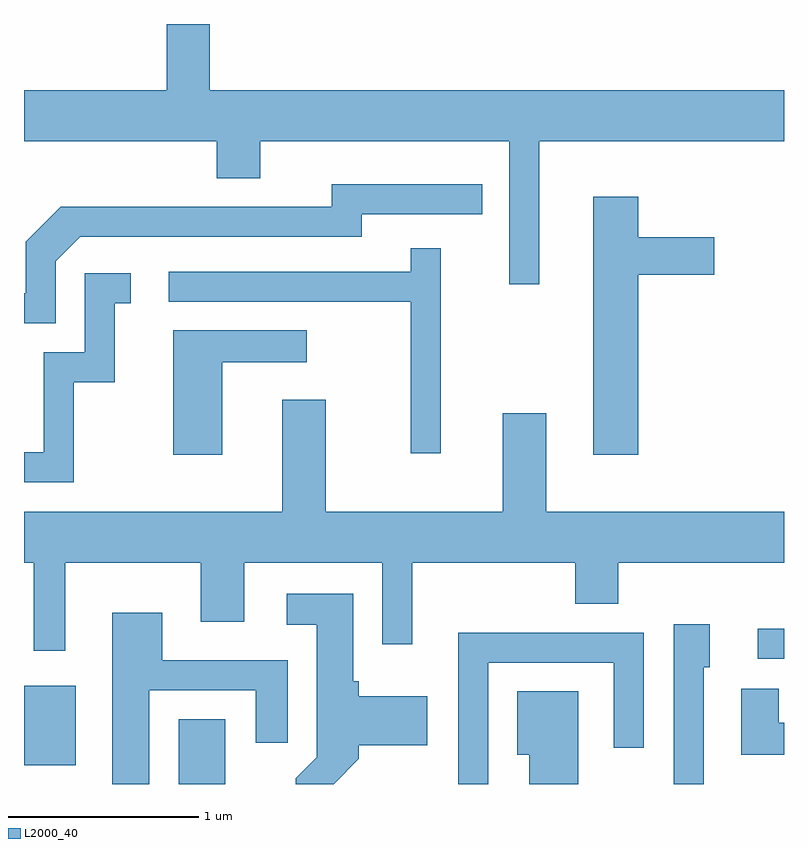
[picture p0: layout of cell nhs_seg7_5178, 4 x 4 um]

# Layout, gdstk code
import gdstk
lib = gdstk.Library(unit=1e-6, precision=1e-09)
def R(c, l, rs):  # rectangles x0, y0, x1, y1
    for r in rs: c.add(gdstk.rectangle(r[:2], r[2:], *l))
def P(c, l, *ps):  # polygons
    for p in ps: c.add(gdstk.Polygon(p, *l))
L2000_40 = (2000, 40)

nhs_seg7_5178 = lib.new_cell('nhs_seg7_5178')
R(nhs_seg7_5178, L2000_40, [(344.426,1724.252,344.669,1724.594), (343.611,1724.351,343.884,1724.769), (347.473,1724.911,347.611,1725.069)])
P(nhs_seg7_5178, L2000_40, [(346.324,1727.636),(347.611,1727.636),(347.611,1727.904),(344.589,1727.904),(344.589,1728.252),(344.361,1728.252),(344.361,1727.904),(343.611,1727.904),(343.611,1727.636),(344.626,1727.636),(344.626,1727.441),(344.854,1727.441),(344.854,1727.636),(346.166,1727.636),(346.166,1726.883),(346.324,1726.883)],
  [(343.779,1727.004),(343.907,1727.131),(345.389,1727.131),(345.389,1727.251),(346.023,1727.251),(346.023,1727.409),(345.231,1727.409),(345.231,1727.289),(343.804,1727.289),(343.621,1727.107),(343.621,1726.834),(343.611,1726.834),(343.611,1726.676),(343.779,1726.676)],
  [(346.844,1726.931),(347.244,1726.931),(347.244,1727.129),(346.844,1727.129),(346.844,1727.344),(346.606,1727.344),(346.606,1725.986),(346.844,1725.986)],
  [(345.804,1727.073),(345.646,1727.073),(345.646,1726.949),(344.373,1726.949),(344.373,1726.791),(345.646,1726.791),(345.646,1725.993),(345.804,1725.993)],
  [(343.874,1726.366),(344.089,1726.366),(344.089,1726.781),(344.173,1726.781),(344.173,1726.939),(343.931,1726.939),(343.931,1726.524),(343.716,1726.524),(343.716,1725.999),(343.611,1725.999),(343.611,1725.841),(343.874,1725.841)],
  [(344.654,1726.471),(345.098,1726.471),(345.098,1726.639),(344.396,1726.639),(344.396,1725.986),(344.654,1725.986)],
  [(343.829,1725.416),(344.541,1725.416),(344.541,1725.106),(344.769,1725.106),(344.769,1725.416),(345.496,1725.416),(345.496,1724.988),(345.654,1724.988),(345.654,1725.416),(346.511,1725.416),(346.511,1725.201),(346.739,1725.201),(346.739,1725.416),(347.611,1725.416),(347.611,1725.684),(346.359,1725.684),(346.359,1726.204),(346.131,1726.204),(346.131,1725.684),(345.199,1725.684),(345.199,1726.274),(344.971,1726.274),(344.971,1725.684),(343.611,1725.684),(343.611,1725.416),(343.661,1725.416),(343.661,1724.953),(343.829,1724.953)],
  [(345.374,1724.384),(345.374,1724.456),(345.734,1724.456),(345.734,1724.714),(345.374,1724.714),(345.374,1724.794),(345.344,1724.794),(345.344,1725.254),(344.993,1725.254),(344.993,1725.091),(345.151,1725.091),(345.151,1724.392),(345.041,1724.282),(345.041,1724.252),(345.242,1724.252)],
  [(344.269,1724.746),(344.831,1724.746),(344.831,1724.468),(344.999,1724.468),(344.999,1724.904),(344.339,1724.904),(344.339,1725.154),(344.076,1725.154),(344.076,1724.252),(344.269,1724.252)],
  [(347.189,1724.866),(347.219,1724.866),(347.219,1725.094),(347.031,1725.094),(347.031,1724.252),(347.189,1724.252)],
  [(346.054,1724.891),(346.716,1724.891),(346.716,1724.443),(346.874,1724.443),(346.874,1725.049),(345.896,1725.049),(345.896,1724.252),(346.054,1724.252)],
  [(347.611,1724.574),(347.584,1724.574),(347.584,1724.754),(347.386,1724.754),(347.386,1724.406),(347.611,1724.406)],
  [(346.529,1724.739),(346.206,1724.739),(346.206,1724.406),(346.271,1724.406),(346.271,1724.252),(346.529,1724.252)])

lib.write_gds('nhs_seg7_5178.gds')
